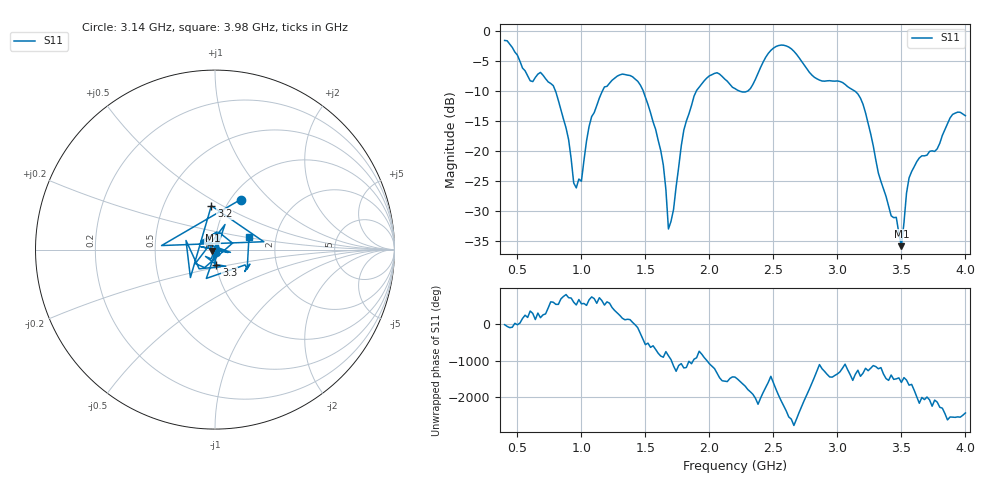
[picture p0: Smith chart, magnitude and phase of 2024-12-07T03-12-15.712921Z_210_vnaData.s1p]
!Created with skrf (http://scikit-rf.org).
# Hz S RI R 50.0
!freq ReS11 ImS11
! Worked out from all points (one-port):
!   181 points, 400 MHz to 4 GHz, reference 50 ohm
!   lowest |S11| = -35.9 dB at 3.5 GHz (marker M1), VSWR 1.03, Z = 48.5 - j0.563 ohm
!   |S11| at or under -10 dB: 797.3 MHz to 1.165 GHz (367.3 MHz wide, 37.4 % of centre); 1.483 GHz to 1.898 GHz (415.7 MHz wide, 24.6 % of centre); 3.134 GHz to end of sweep (the widest 3 of 4)
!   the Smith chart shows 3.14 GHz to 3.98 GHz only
!   S11 on the Smith chart (normalised r, x): 3.14 GHz: 1.11, +0.69; 3.2 GHz: 0.85, +0.44; 3.3 GHz: 1.00, -0.17; 3.98 GHz: 1.45, +0.22
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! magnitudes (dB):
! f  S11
! 400 MHz  -1.6
! 600 MHz  -8.3
! 780 MHz  -9.1
! 860 MHz  -14.7
! 960 MHz  -26.2
! 1 GHz  -25.1
! 1.08 GHz  -14.3
! 1.3 GHz  -7.3
! 1.52 GHz  -12.3
! 1.64 GHz  -22.4
! 1.68 GHz  -33.0
! 1.76 GHz  -22.7
! 1.8 GHz  -16.6
! 1.9 GHz  -9.9
! 2.06 GHz  -7.0
! 2.2 GHz  -9.6
! 2.32 GHz  -9.6
! 2.52 GHz  -2.6
! 2.66 GHz  -3.4
! 2.82 GHz  -7.7
! 3.1 GHz  -9.6
! 3.14 GHz  -10.1
! 3.2 GHz  -12.2
! 3.3 GHz  -21.5
! 3.5 GHz  -35.9
! 3.56 GHz  -24.5
! 3.98 GHz  -13.9
! 4 GHz  -14.1
